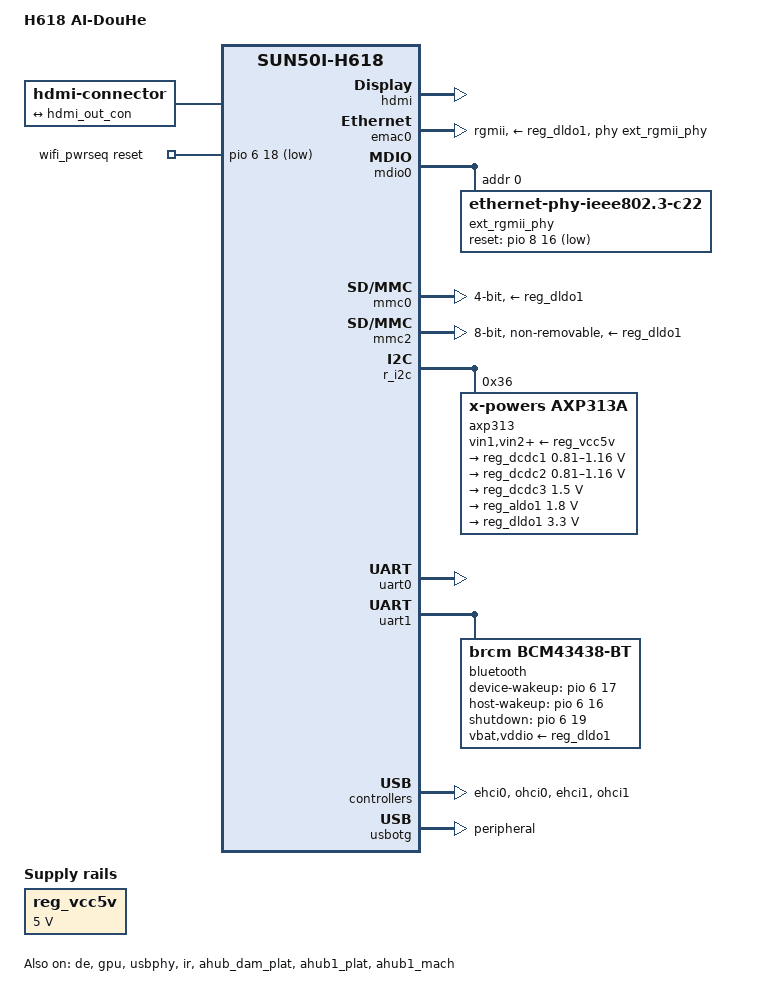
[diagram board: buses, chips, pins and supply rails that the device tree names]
// SPDX-License-Identifier: (GPL-2.0+ OR MIT)

/dts-v1/;

#include "sun50i-h616.dtsi"
#include "sun50i-h616-cpu-opp.dtsi"
#include <dt-bindings/gpio/gpio.h>
#include <dt-bindings/interrupt-controller/arm-gic.h>
#include <dt-bindings/leds/common.h>
#include <dt-bindings/clock/sun6i-rtc.h>

/ {
	model = "H618 AI-DouHe";
	compatible = "ai-douhe,h618-ai-douhe", "allwinner,sun50i-h618";

	aliases {
		ethernet0 = &emac0;
		ethernet1 = &sdio_wifi;
		mmc0 = &mmc0;
		mmc1 = &mmc1;
		mmc2 = &mmc2;
		serial0 = &uart0;
	};

	chosen {
		stdout-path = "serial0:115200n8";
	};

	/* HDMI connector (Type-A) */
	connector {
		compatible = "hdmi-connector";
		type = "a";

		port {
			hdmi_con_in: endpoint {
				remote-endpoint = <&hdmi_out_con>;
			};
		};
	};

	/* Board 5 V rail coming from the DC jack */
	reg_vcc5v: regulator-vcc5v {
		compatible = "regulator-fixed";
		regulator-name = "vcc-5v";
		regulator-min-microvolt = <5000000>;
		regulator-max-microvolt = <5000000>;
		regulator-always-on;
	};

	wifi_pwrseq: wifi-pwrseq {
		compatible = "mmc-pwrseq-simple";
		clocks = <&rtc CLK_OSC32K_FANOUT>;
		clock-names = "ext_clock";
		pinctrl-names = "default";
		pinctrl-0 = <&x32clk_fanout_pin>;
		reset-gpios = <&pio 6 18 GPIO_ACTIVE_LOW>; /* PG18 WL_REG_ON */
		post-power-on-delay-ms = <200>;
	};
};

&cpu0 {
	cpu-supply = <&reg_dcdc2>;
};

&de {
	status = "okay";
};

&gpu {
	mali-supply = <&reg_dcdc1>;
	status = "okay";
};

&hdmi {
	hvcc-supply = <&reg_aldo1>;
	status = "okay";
};

&hdmi_out {
	hdmi_out_con: endpoint {
		remote-endpoint = <&hdmi_con_in>;
	};
};

/* Maxio MAE0621 RGMII PHY on emac0, parameters per stock firmware DTB */
&emac0 {
	pinctrl-names = "default";
	pinctrl-0 = <&ext_rgmii_pins>;
	phy-mode = "rgmii";
	phy-handle = <&ext_rgmii_phy>;
	phy-supply = <&reg_dldo1>;
	allwinner,tx-delay-ps = <600>;
	allwinner,rx-delay-ps = <0>;
	status = "okay";
};

&ext_rgmii_pins {
	pins = "PI0", "PI1", "PI2", "PI3", "PI4", "PI5", "PI6",
	       "PI7", "PI8", "PI9", "PI10", "PI11", "PI12",
	       "PI13", "PI14", "PI15";
	drive-strength = <30>;
	bias-pull-up;
};

&mdio0 {
	ext_rgmii_phy: ethernet-phy@0 {
		compatible = "ethernet-phy-ieee802.3-c22";
		reg = <0>;
		reset-gpios = <&pio 8 16 GPIO_ACTIVE_LOW>;
		reset-assert-us = <30000>;
		reset-deassert-us = <1000000>;
	};
};

/* RMII port is not wired on this board; emac0 (RGMII) is used instead */
&emac1 {
	status = "disabled";
};

&mmc0 {
	vmmc-supply = <&reg_dldo1>;
	/* SD-card detect line is unreliable on this board */
	broken-cd;
	bus-width = <4>;
	status = "okay";
};

/* SDIO Wi-Fi is not populated on this board (disabled by eth.dts) */
&mmc1 {
	vmmc-supply = <&reg_dldo1>;	/* 3.3 V VBAT */
	vqmmc-supply = <&reg_aldo1>;	/* 1.8 V SDIO IO */
	mmc-pwrseq = <&wifi_pwrseq>;
	bus-width = <4>;
	non-removable;
	status = "disabled";

	sdio_wifi: wifi@1 {
		reg = <1>;
		interrupt-parent = <&pio>;
		interrupts = <6 15 IRQ_TYPE_LEVEL_LOW>; /* PG15 WL_HOSTWAKE */
		interrupt-names = "host-wake";
	};
};

&mmc2 {
	vmmc-supply = <&reg_dldo1>;
	vqmmc-supply = <&reg_aldo1>;
	bus-width = <8>;
	non-removable;
	cap-mmc-hw-reset;
	mmc-ddr-1_8v;
	mmc-hs200-1_8v;
	status = "okay";
};

&pio {
	vcc-pc-supply = <&reg_aldo1>; /* PC bank feeds eMMC (1.8 V) */
	vcc-pf-supply = <&reg_dldo1>; /* PF bank feeds SD */
	vcc-pg-supply = <&reg_dldo1>; /* PG bank: Wi-Fi/BT, mmc1 */
	vcc-ph-supply = <&reg_dldo1>;
	vcc-pi-supply = <&reg_dldo1>; /* PI bank: RGMII lines */
};

&r_i2c {
	status = "okay";

	axp313: pmic@36 {
		compatible = "x-powers,axp313a";
		reg = <0x36>;
		#interrupt-cells = <1>;
		interrupt-controller;

		vin1-supply = <&reg_vcc5v>;
		vin2-supply = <&reg_vcc5v>;
		vin3-supply = <&reg_vcc5v>;

		regulators {
			reg_dcdc1: dcdc1 {
				regulator-always-on;
				regulator-min-microvolt = <810000>;
				regulator-max-microvolt = <1160000>;
				regulator-name = "vdd-gpu-sys";
			};

			reg_dcdc2: dcdc2 {
				regulator-always-on;
				regulator-min-microvolt = <810000>;
				regulator-max-microvolt = <1160000>;
				regulator-ramp-delay = <2500>;
				regulator-name = "vdd-cpu";
			};

			reg_dcdc3: dcdc3 {
				regulator-always-on;
				regulator-min-microvolt = <1500000>;
				regulator-max-microvolt = <1500000>;
				regulator-name = "vdd-dram";
			};

			reg_aldo1: aldo1 {
				regulator-always-on;
				regulator-min-microvolt = <1800000>;
				regulator-max-microvolt = <1800000>;
				regulator-name = "vcc1v8";
			};

			reg_dldo1: dldo1 {
				regulator-always-on;
				regulator-min-microvolt = <3300000>;
				regulator-max-microvolt = <3300000>;
				regulator-name = "vcc3v3";
			};
		};
	};
};

&uart0 {
	pinctrl-names = "default";
	pinctrl-0 = <&uart0_ph_pins>;
	status = "okay";
};

/* UART1 -- Bluetooth (bcm43438) */
&uart1 {
	pinctrl-names = "default";
	pinctrl-0 = <&uart1_pins>, <&uart1_rts_cts_pins>;
	uart-has-rtscts;
	status = "okay";

	bluetooth {
		compatible = "brcm,bcm43438-bt";
		clocks = <&rtc CLK_OSC32K_FANOUT>;
		clock-names = "lpo";
		vbat-supply = <&reg_dldo1>;
		vddio-supply = <&reg_dldo1>;
		device-wakeup-gpios = <&pio 6 17 GPIO_ACTIVE_HIGH>; /* PG17 */
		host-wakeup-gpios   = <&pio 6 16 GPIO_ACTIVE_HIGH>; /* PG16 */
		shutdown-gpios      = <&pio 6 19 GPIO_ACTIVE_HIGH>; /* PG19 */
	};
};

&ehci0 {
	status = "okay";
};

&ohci0 {
	status = "okay";
};

&ehci1 {
	status = "okay";
};

&ohci1 {
	status = "okay";
};

&usbotg {
	dr_mode = "peripheral";
	status = "okay";
};

&usbphy {
	usb1_vbus-supply = <&reg_vcc5v>;
	status = "okay";
};

&ir {
	status = "okay";
};

&ahub_dam_plat {
	status = "okay";
};

&ahub1_plat {
	status = "okay";
};

&ahub1_mach {
	status = "okay";
};
